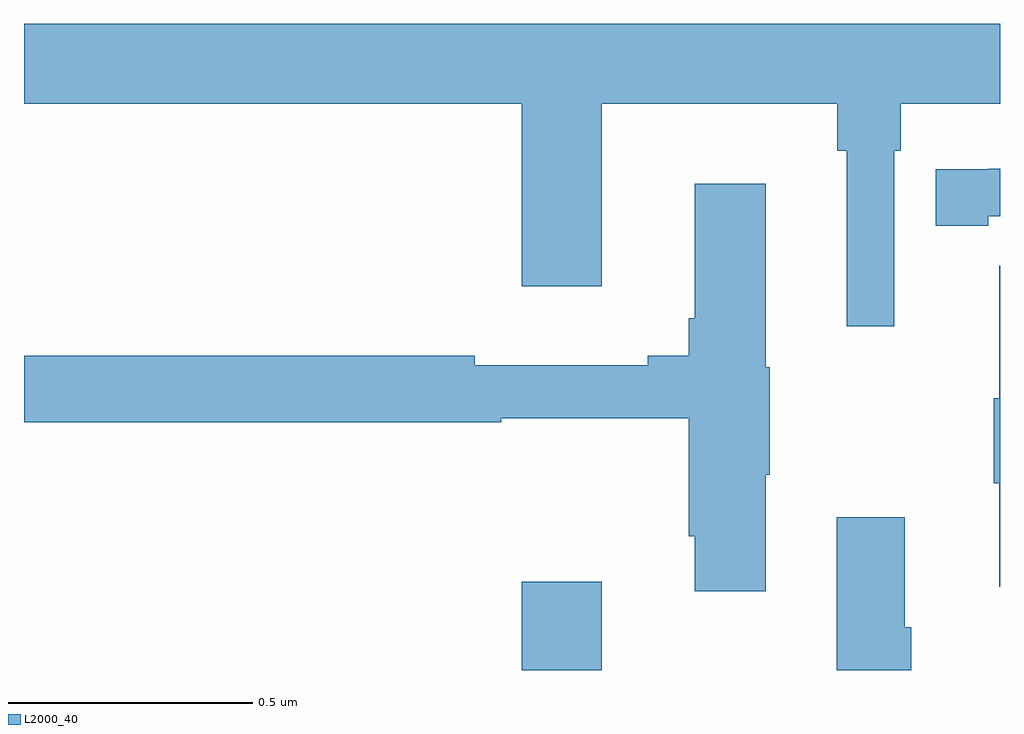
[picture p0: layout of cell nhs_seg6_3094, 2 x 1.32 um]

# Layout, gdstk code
import gdstk
lib = gdstk.Library(unit=1e-6, precision=1e-09)
def R(c, l, rs):  # rectangles x0, y0, x1, y1
    for r in rs: c.add(gdstk.rectangle(r[:2], r[2:], *l))
def P(c, l, *ps):  # polygons
    for p in ps: c.add(gdstk.Polygon(p, *l))
L2000_40 = (2000, 40)

nhs_seg6_3094 = lib.new_cell('nhs_seg6_3094')
R(nhs_seg6_3094, L2000_40, [(153.02,955.5,153.184,955.681)])
P(nhs_seg6_3094, L2000_40, [(153.783,956.564),(153.797,956.564),(153.797,956.66),(154,956.66),(154,956.824),(152,956.824),(152,956.66),(153.02,956.66),(153.02,956.286),(153.184,956.286),(153.184,956.66),(153.667,956.66),(153.667,956.564),(153.686,956.564),(153.686,956.205),(153.783,956.205)],
  [(153.976,956.43),(154,956.43),(154,956.527),(153.976,956.527),(153.976,956.526),(153.868,956.526),(153.868,956.41),(153.976,956.41)],
  [(153.52,955.9),(153.528,955.9),(153.528,956.121),(153.52,956.121),(153.52,956.497),(153.374,956.497),(153.374,956.221),(153.362,956.221),(153.362,956.144),(153.278,956.144),(153.278,956.125),(152.924,956.125),(152.924,956.144),(152,956.144),(152,956.008),(152.978,956.008),(152.978,956.016),(153.362,956.016),(153.362,955.774),(153.374,955.774),(153.374,955.662),(153.52,955.662)],
  [(154,956.329),(153.998,956.329),(153.998,956.057),(153.987,956.057),(153.987,955.883),(153.998,955.883),(153.998,955.671),(154,955.671)],
  [(153.818,955.588),(153.805,955.588),(153.805,955.813),(153.665,955.813),(153.665,955.5),(153.818,955.5)])

lib.write_gds('nhs_seg6_3094.gds')
